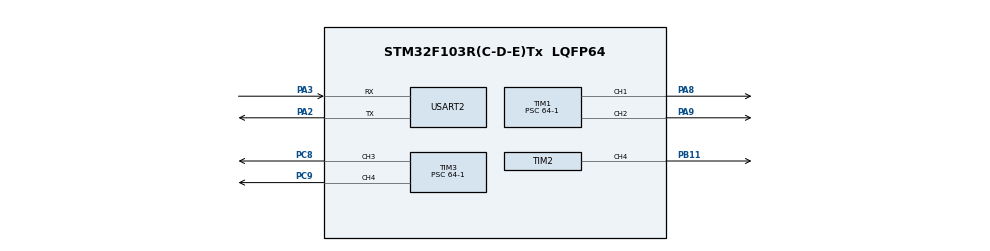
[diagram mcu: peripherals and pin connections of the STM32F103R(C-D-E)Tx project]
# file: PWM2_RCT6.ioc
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Mcu.Family=STM32F1
Mcu.Name=STM32F103R(C-D-E)Tx
Mcu.Package=LQFP64
NVIC.PriorityGroup=NVIC_PRIORITYGROUP_4
PA13.Mode=Serial_Wire
PA13.Signal=SYS_JTMS-SWDIO
PA14.Mode=Serial_Wire
PA14.Signal=SYS_JTCK-SWCLK
PA2.Mode=Asynchronous
PA2.Signal=USART2_TX
PA3.Mode=Asynchronous
PA3.Signal=USART2_RX
PA8.Signal=S_TIM1_CH1
PA9.Signal=S_TIM1_CH2
PB11.Signal=S_TIM2_CH4
PC14-OSC32_IN.Mode=LSE-External-Oscillator
PC14-OSC32_IN.Signal=RCC_OSC32_IN
PC15-OSC32_OUT.Mode=LSE-External-Oscillator
PC15-OSC32_OUT.Signal=RCC_OSC32_OUT
PC8.Signal=S_TIM3_CH3
PC9.Signal=S_TIM3_CH4
ProjectManager.HeapSize=0x200
ProjectManager.StackSize=0x400
ProjectManager.TargetToolchain=STM32CubeIDE
RCC.APB1Freq_Value=8000000
RCC.APB2Freq_Value=8000000
RTC.Format=RTC_FORMAT_BIN
RTC.Year=23
SH.S_TIM1_CH1.0=TIM1_CH1,PWM Generation1 CH1
SH.S_TIM1_CH2.0=TIM1_CH2,PWM Generation2 CH2
SH.S_TIM2_CH4.0=TIM2_CH4,PWM Generation4 CH4
SH.S_TIM3_CH3.0=TIM3_CH3,PWM Generation3 CH3
SH.S_TIM3_CH4.0=TIM3_CH4,PWM Generation4 CH4
TIM1.Channel-PWM\ Generation1\ CH1=TIM_CHANNEL_1
TIM1.Channel-PWM\ Generation2\ CH2=TIM_CHANNEL_2
TIM1.Period=500-1
TIM1.Prescaler=64-1
TIM2.Channel-PWM\ Generation4\ CH4=TIM_CHANNEL_4
TIM2.Period=500-1
TIM2.Prescaler=64-1
TIM3.Channel-PWM\ Generation3\ CH3=TIM_CHANNEL_3
TIM3.Channel-PWM\ Generation4\ CH4=TIM_CHANNEL_4
TIM3.Period=500-1
TIM3.Prescaler=64-1
USART2.VirtualMode=VM_ASYNC
VP_RTC_VS_RTC_Activate.Mode=RTC_Enabled
VP_RTC_VS_RTC_Calendar.Mode=RTC_Calendar
board=custom

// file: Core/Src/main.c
/* USER CODE BEGIN Header */
#include<stdio.h>
#include<string.h>
#include<stdlib.h>
#include<time.h>
/**
  ******************************************************************************
  * @file           : main.c
  * @brief          : Main program body
  ******************************************************************************
  * @attention
  *
  * Copyright (c) 2023 STMicroelectronics.
  * All rights reserved.
  *
  * This software is licensed under terms that can be found in the LICENSE file
  * in the root directory of this software component.
  * If no LICENSE file comes with this software, it is provided AS-IS.
  *
  ******************************************************************************
  */
/* USER CODE END Header */
#include "main.h"

RTC_HandleTypeDef hrtc;

TIM_HandleTypeDef htim1;
TIM_HandleTypeDef htim2;
TIM_HandleTypeDef htim3;

UART_HandleTypeDef huart2;

void SystemClock_Config(void);
static void MX_GPIO_Init(void);
static void MX_TIM1_Init(void);
static void MX_USART2_UART_Init(void);
static void MX_RTC_Init(void);
static void MX_TIM3_Init(void);
static void MX_TIM2_Init(void);
/* USER CODE BEGIN PFP */
void setPWMP(TIM_HandleTypeDef * tim, uint16_t channel, uint32_t pwm_value);
typedef struct lcd {
    uint32_t val;
    uint8_t stepUp;
    uint8_t stepDown;
    int8_t Direction;
    uint32_t DownTime;
    uint32_t UpTime;
    uint32_t DownDur;
    uint32_t UpDur;
    uint32_t maxValue;
} lcd;
uint32_t setValue(struct lcd * led);
/* USER CODE END PFP */

int main(void)
{

  /* MCU Configuration--------------------------------------------------------*/

  /* Reset of all peripherals, Initializes the Flash interface and the Systick. */
  HAL_Init();

  /* Configure the system clock */
  SystemClock_Config();

  /* Initialize all configured peripherals */
  MX_GPIO_Init();
  MX_TIM1_Init();
  MX_USART2_UART_Init();
  MX_RTC_Init();
  MX_TIM3_Init();
  MX_TIM2_Init();
  /* USER CODE BEGIN 2 */
    HAL_TIM_PWM_Start(&htim1, TIM_CHANNEL_1);
    HAL_TIM_PWM_Start(&htim1, TIM_CHANNEL_2);

    HAL_TIM_PWM_Start(&htim2, TIM_CHANNEL_4);

    HAL_TIM_PWM_Start(&htim3, TIM_CHANNEL_3);
    HAL_TIM_PWM_Start(&htim3, TIM_CHANNEL_4);

    HAL_UART_Transmit(&huart2,(uint8_t*)"Test UART2\r\n", sizeof("Test UART2\r\n") - 1 ,1000);
  /* USER CODE END 2 */

  /* Infinite loop */
  /* USER CODE BEGIN WHILE */

    lcd a1;
    a1.val = 0;
    a1.maxValue = 500;
    a1.stepUp = 2;
    a1.stepDown = 2;
    a1.DownDur = 1000;
    a1.UpDur = 1000;

    lcd a2;
    a2.val = 0;
    a2.maxValue = 500;
    a2.stepUp = 2;
    a2.stepDown = 2;
    a2.DownDur = 1000;
    a2.UpDur = 1000;

    lcd c1;
    c1.val = 0;
    c1.maxValue = 500;
    c1.stepUp = 2;
    c1.stepDown = 2;
    c1.DownDur = 4000;
    c1.UpDur = 2000;

    lcd c2;
    c2.val = 0;
    c2.maxValue = 500;
    c2.stepUp = 2;
    c2.stepDown = 2;
    c2.DownDur = 4000;
    c2.UpDur = 2000;

    lcd b1;
    b1.val = 0;
    b1.maxValue = 500;
    b1.stepUp = 2;
    b1.stepDown = 2;
    b1.DownDur = 4000;
    b1.UpDur = 2000;

  while (1)
  {
//        setPWMP(&htim1, TIM_CHANNEL_1, setValue(&pa8));
 TIM1->CCR1 = setValue(&a1);
// TIM1->CCR2 = setValue(&a2);

// TIM2->CCR4 = setValue(&b1);

// TIM3->CCR3 = setValue(&c2);
// TIM3->CCR4 = setValue(&c1);

        HAL_Delay(3);

    /* USER CODE END WHILE */

  }
}

void SystemClock_Config(void)
{
  RCC_OscInitTypeDef RCC_OscInitStruct = {0};
  RCC_ClkInitTypeDef RCC_ClkInitStruct = {0};
  RCC_PeriphCLKInitTypeDef PeriphClkInit = {0};

  /** Initializes the RCC Oscillators according to the specified parameters
  * in the RCC_OscInitTypeDef structure.
  */
  RCC_OscInitStruct.OscillatorType = RCC_OSCILLATORTYPE_HSI|RCC_OSCILLATORTYPE_LSI;
  RCC_OscInitStruct.HSIState = RCC_HSI_ON;
  RCC_OscInitStruct.HSICalibrationValue = RCC_HSICALIBRATION_DEFAULT;
  RCC_OscInitStruct.LSIState = RCC_LSI_ON;
  RCC_OscInitStruct.PLL.PLLState = RCC_PLL_NONE;
  if (HAL_RCC_OscConfig(&RCC_OscInitStruct) != HAL_OK)
  {
    Error_Handler();
  }
  /** Initializes the CPU, AHB and APB buses clocks
  */
  RCC_ClkInitStruct.ClockType = RCC_CLOCKTYPE_HCLK|RCC_CLOCKTYPE_SYSCLK
                              |RCC_CLOCKTYPE_PCLK1|RCC_CLOCKTYPE_PCLK2;
  RCC_ClkInitStruct.SYSCLKSource = RCC_SYSCLKSOURCE_HSI;
  RCC_ClkInitStruct.AHBCLKDivider = RCC_SYSCLK_DIV1;
  RCC_ClkInitStruct.APB1CLKDivider = RCC_HCLK_DIV1;
  RCC_ClkInitStruct.APB2CLKDivider = RCC_HCLK_DIV1;

  if (HAL_RCC_ClockConfig(&RCC_ClkInitStruct, FLASH_LATENCY_0) != HAL_OK)
  {
    Error_Handler();
  }
  PeriphClkInit.PeriphClockSelection = RCC_PERIPHCLK_RTC;
  PeriphClkInit.RTCClockSelection = RCC_RTCCLKSOURCE_LSI;
  if (HAL_RCCEx_PeriphCLKConfig(&PeriphClkInit) != HAL_OK)
  {
    Error_Handler();
  }
}

static void MX_RTC_Init(void)
{

  RTC_TimeTypeDef sTime = {0};
  RTC_DateTypeDef DateToUpdate = {0};

  /** Initialize RTC Only
  */
  hrtc.Instance = RTC;
  hrtc.Init.AsynchPrediv = RTC_AUTO_1_SECOND;
  hrtc.Init.OutPut = RTC_OUTPUTSOURCE_ALARM;
  if (HAL_RTC_Init(&hrtc) != HAL_OK)
  {
    Error_Handler();
  }

  /** Initialize RTC and set the Time and Date
  */
  sTime.Hours = 0;
  sTime.Minutes = 0;
  sTime.Seconds = 0;

  if (HAL_RTC_SetTime(&hrtc, &sTime, RTC_FORMAT_BIN) != HAL_OK)
  {
    Error_Handler();
  }
  DateToUpdate.WeekDay = RTC_WEEKDAY_MONDAY;
  DateToUpdate.Month = RTC_MONTH_JANUARY;
  DateToUpdate.Date = 1;
  DateToUpdate.Year = 23;

  if (HAL_RTC_SetDate(&hrtc, &DateToUpdate, RTC_FORMAT_BIN) != HAL_OK)
  {
    Error_Handler();
  }

}

static void MX_TIM1_Init(void)
{

  TIM_MasterConfigTypeDef sMasterConfig = {0};
  TIM_OC_InitTypeDef sConfigOC = {0};
  TIM_BreakDeadTimeConfigTypeDef sBreakDeadTimeConfig = {0};

  htim1.Instance = TIM1;
  htim1.Init.Prescaler = 64-1;
  htim1.Init.CounterMode = TIM_COUNTERMODE_UP;
  htim1.Init.Period = 500-1;
  htim1.Init.ClockDivision = TIM_CLOCKDIVISION_DIV1;
  htim1.Init.RepetitionCounter = 0;
  htim1.Init.AutoReloadPreload = TIM_AUTORELOAD_PRELOAD_DISABLE;
  if (HAL_TIM_PWM_Init(&htim1) != HAL_OK)
  {
    Error_Handler();
  }
  sMasterConfig.MasterOutputTrigger = TIM_TRGO_RESET;
  sMasterConfig.MasterSlaveMode = TIM_MASTERSLAVEMODE_DISABLE;
  if (HAL_TIMEx_MasterConfigSynchronization(&htim1, &sMasterConfig) != HAL_OK)
  {
    Error_Handler();
  }
  sConfigOC.OCMode = TIM_OCMODE_PWM1;
  sConfigOC.Pulse = 0;
  sConfigOC.OCPolarity = TIM_OCPOLARITY_HIGH;
  sConfigOC.OCNPolarity = TIM_OCNPOLARITY_HIGH;
  sConfigOC.OCFastMode = TIM_OCFAST_DISABLE;
  sConfigOC.OCIdleState = TIM_OCIDLESTATE_RESET;
  sConfigOC.OCNIdleState = TIM_OCNIDLESTATE_RESET;
  if (HAL_TIM_PWM_ConfigChannel(&htim1, &sConfigOC, TIM_CHANNEL_1) != HAL_OK)
  {
    Error_Handler();
  }
  if (HAL_TIM_PWM_ConfigChannel(&htim1, &sConfigOC, TIM_CHANNEL_2) != HAL_OK)
  {
    Error_Handler();
  }
  sBreakDeadTimeConfig.OffStateRunMode = TIM_OSSR_DISABLE;
  sBreakDeadTimeConfig.OffStateIDLEMode = TIM_OSSI_DISABLE;
  sBreakDeadTimeConfig.LockLevel = TIM_LOCKLEVEL_OFF;
  sBreakDeadTimeConfig.DeadTime = 0;
  sBreakDeadTimeConfig.BreakState = TIM_BREAK_DISABLE;
  sBreakDeadTimeConfig.BreakPolarity = TIM_BREAKPOLARITY_HIGH;
  sBreakDeadTimeConfig.AutomaticOutput = TIM_AUTOMATICOUTPUT_DISABLE;
  if (HAL_TIMEx_ConfigBreakDeadTime(&htim1, &sBreakDeadTimeConfig) != HAL_OK)
  {
    Error_Handler();
  }
  HAL_TIM_MspPostInit(&htim1);

}

static void MX_TIM2_Init(void)
{

  TIM_MasterConfigTypeDef sMasterConfig = {0};
  TIM_OC_InitTypeDef sConfigOC = {0};

  htim2.Instance = TIM2;
  htim2.Init.Prescaler = 64-1;
  htim2.Init.CounterMode = TIM_COUNTERMODE_UP;
  htim2.Init.Period = 500-1;
  htim2.Init.ClockDivision = TIM_CLOCKDIVISION_DIV1;
  htim2.Init.AutoReloadPreload = TIM_AUTORELOAD_PRELOAD_DISABLE;
  if (HAL_TIM_PWM_Init(&htim2) != HAL_OK)
  {
    Error_Handler();
  }
  sMasterConfig.MasterOutputTrigger = TIM_TRGO_RESET;
  sMasterConfig.MasterSlaveMode = TIM_MASTERSLAVEMODE_DISABLE;
  if (HAL_TIMEx_MasterConfigSynchronization(&htim2, &sMasterConfig) != HAL_OK)
  {
    Error_Handler();
  }
  sConfigOC.OCMode = TIM_OCMODE_PWM1;
  sConfigOC.Pulse = 0;
  sConfigOC.OCPolarity = TIM_OCPOLARITY_HIGH;
  sConfigOC.OCFastMode = TIM_OCFAST_DISABLE;
  if (HAL_TIM_PWM_ConfigChannel(&htim2, &sConfigOC, TIM_CHANNEL_4) != HAL_OK)
  {
    Error_Handler();
  }
  HAL_TIM_MspPostInit(&htim2);

}

static void MX_TIM3_Init(void)
{

  TIM_MasterConfigTypeDef sMasterConfig = {0};
  TIM_OC_InitTypeDef sConfigOC = {0};

  htim3.Instance = TIM3;
  htim3.Init.Prescaler = 64-1;
  htim3.Init.CounterMode = TIM_COUNTERMODE_UP;
  htim3.Init.Period = 500-1;
  htim3.Init.ClockDivision = TIM_CLOCKDIVISION_DIV1;
  htim3.Init.AutoReloadPreload = TIM_AUTORELOAD_PRELOAD_DISABLE;
  if (HAL_TIM_PWM_Init(&htim3) != HAL_OK)
  {
    Error_Handler();
  }
  sMasterConfig.MasterOutputTrigger = TIM_TRGO_RESET;
  sMasterConfig.MasterSlaveMode = TIM_MASTERSLAVEMODE_DISABLE;
  if (HAL_TIMEx_MasterConfigSynchronization(&htim3, &sMasterConfig) != HAL_OK)
  {
    Error_Handler();
  }
  sConfigOC.OCMode = TIM_OCMODE_PWM1;
  sConfigOC.Pulse = 0;
  sConfigOC.OCPolarity = TIM_OCPOLARITY_HIGH;
  sConfigOC.OCFastMode = TIM_OCFAST_DISABLE;
  if (HAL_TIM_PWM_ConfigChannel(&htim3, &sConfigOC, TIM_CHANNEL_3) != HAL_OK)
  {
    Error_Handler();
  }
  if (HAL_TIM_PWM_ConfigChannel(&htim3, &sConfigOC, TIM_CHANNEL_4) != HAL_OK)
  {
    Error_Handler();
  }
  HAL_TIM_MspPostInit(&htim3);

}

static void MX_USART2_UART_Init(void)
{

  huart2.Instance = USART2;
  huart2.Init.BaudRate = 115200;
  huart2.Init.WordLength = UART_WORDLENGTH_8B;
  huart2.Init.StopBits = UART_STOPBITS_1;
  huart2.Init.Parity = UART_PARITY_NONE;
  huart2.Init.Mode = UART_MODE_TX_RX;
  huart2.Init.HwFlowCtl = UART_HWCONTROL_NONE;
  huart2.Init.OverSampling = UART_OVERSAMPLING_16;
  if (HAL_UART_Init(&huart2) != HAL_OK)
  {
    Error_Handler();
  }

}

static void MX_GPIO_Init(void)
{

  /* GPIO Ports Clock Enable */
  __HAL_RCC_GPIOC_CLK_ENABLE();
  __HAL_RCC_GPIOA_CLK_ENABLE();
  __HAL_RCC_GPIOB_CLK_ENABLE();

}

/* USER CODE BEGIN 4 */
//void setPWMP(TIM_HandleTypeDef * tim, uint16_t channel, uint32_t value)
//{
//    TIM_OC_InitTypeDef sConfigOC;
//    sConfigOC.OCMode = TIM_OCMODE_PWM1;
//    sConfigOC.Pulse = value;
//    sConfigOC.OCPolarity = TIM_OCPOLARITY_HIGH;
//    sConfigOC.OCFastMode = TIM_OCFAST_DISABLE;
//    HAL_TIM_PWM_ConfigChannel(tim, &sConfigOC, channel);
//    HAL_TIM_PWM_Start(tim, channel);
//}
uint32_t setValue(struct lcd * pin)
{
    char buf[24];
    if(pin->Direction == 1)
    {
        if(pin->val >= pin->maxValue)
        {
            HAL_UART_Transmit(&huart2,(uint8_t*)"Down\r\n", sizeof("Down\r\n") - 1 ,1000);
            sprintf(buf,"Curr time: %10u\r\n", HAL_GetTick());
            HAL_UART_Transmit(&huart2,(uint8_t*)buf, sizeof(buf)-1 ,1000);

            pin->Direction = 0; //идем вниз
            pin->UpTime = HAL_GetTick();
            HAL_Delay(100);
        }
        else
        {
            if(HAL_GetTick() >= pin->DownTime + pin->DownDur)
            {
              pin->val += pin->stepUp;
            }
        }
    }
    if(pin->Direction == 0)
    {
        if(pin->val <= 0)
        {
            HAL_UART_Transmit(&huart2,(uint8_t*)"Up\r\n", sizeof("Up\r\n") - 1 ,1000);
            sprintf(buf,"Curr time: %10u\r\n", HAL_GetTick());
            HAL_UART_Transmit(&huart2,(uint8_t*)buf, sizeof(buf)-1 ,1000);
            pin->Direction = 1; //идем вверх
            pin->DownTime = HAL_GetTick();
            HAL_Delay(100);
        }
        else
        {
            if(HAL_GetTick() >= pin->UpTime  + pin->UpDur)
            {
              pin->val -= pin->stepDown;
            }
        }
    }
    sprintf(buf,"Curr valu: %10u\r\n", pin->val);
    HAL_UART_Transmit(&huart2,(uint8_t*)buf, sizeof(buf)-1 ,1000);
    return pin->val;
}
/* USER CODE END 4 */

void Error_Handler(void)
{
  __disable_irq();
  while (1)
  {
  }
}
